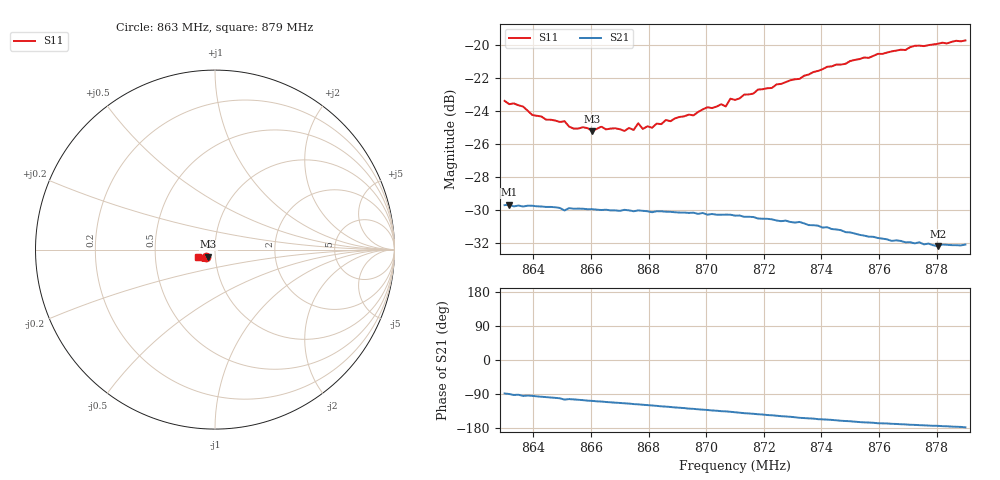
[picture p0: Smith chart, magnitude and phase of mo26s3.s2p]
# HZ S RI R 50
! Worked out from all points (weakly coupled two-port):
!   101 points, 863 MHz to 879 MHz, reference 50 ohm
!   highest |S21| = -29.69 dB at 863.16 MHz (marker M1); lowest = -32.2 dB at 878.04 MHz (marker M2)
!   lowest |S11| = -25.2 dB at 866.04 MHz (marker M3), VSWR 1.12, Z = 46.2 - j3.66 ohm
!   |S11| at or under -10 dB: start of sweep to end of sweep
!   S12 and S22 are empty: the file has one direction only
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8.63e8  -0.0529 -0.0425  0.000969 -0.0326  0 0  0 0
8.6316e8  -0.0538 -0.0387  0.000125 -0.0328  0 0  0 0
8.6364e8  -0.0516 -0.0398  -0.00271 -0.0322  0 0  0 0
8.6444e8  -0.0465 -0.0371  -0.00444 -0.0319  0 0  0 0
8.6508e8  -0.0434 -0.0397  -0.00789 -0.0305  0 0  0 0
8.654e8  -0.0409 -0.0381  -0.00769 -0.0309  0 0  0 0
8.6572e8  -0.0402 -0.0396  -0.00876 -0.0306  0 0  0 0
8.6604e8  -0.038 -0.0395  -0.00976 -0.0302  0 0  0 0
8.6636e8  -0.0404 -0.0397  -0.0106 -0.0297  0 0  0 0
8.6716e8  -0.0347 -0.0426  -0.013 -0.0288  0 0  0 0
8.6748e8  -0.0342 -0.0434  -0.0139 -0.028  0 0  0 0
8.6764e8  -0.0366 -0.045  -0.0143 -0.028  0 0  0 0
8.678e8  -0.0352 -0.0432  -0.0148 -0.0277  0 0  0 0
8.6844e8  -0.034 -0.0465  -0.0167 -0.0264  0 0  0 0
8.7004e8  -0.0361 -0.0539  -0.0204 -0.0227  0 0  0 0
8.7068e8  -0.0349 -0.0551  -0.0218 -0.0214  0 0  0 0
8.7084e8  -0.0386 -0.057  -0.0222 -0.021  0 0  0 0
8.71e8  -0.0379 -0.0568  -0.0225 -0.0203  0 0  0 0
8.7372e8  -0.0529 -0.064  -0.0256 -0.0122  0 0  0 0
8.7644e8  -0.0754 -0.0594  -0.0249 -0.00511  0 0  0 0
8.7804e8  -0.0877 -0.0504  -0.0243 -0.00268  0 0  0 0
8.79e8  -0.0944 -0.0426  -0.0248 -0.00104  0 0  0 0
